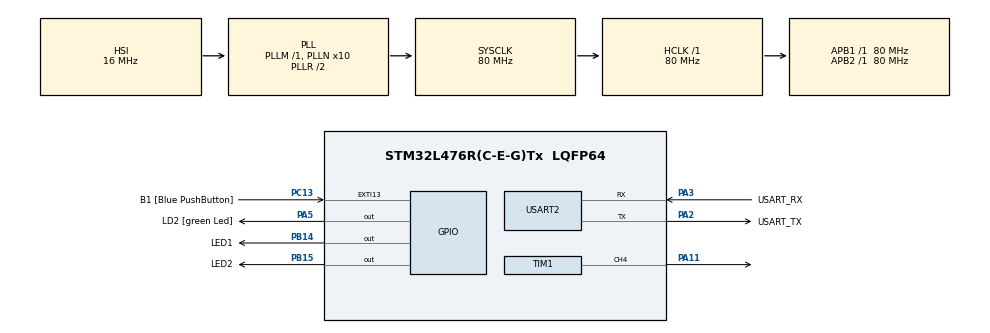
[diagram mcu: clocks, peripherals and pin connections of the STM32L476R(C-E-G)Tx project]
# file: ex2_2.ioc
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Mcu.Family=STM32L4
Mcu.Name=STM32L476R(C-E-G)Tx
Mcu.Package=LQFP64
NVIC.PriorityGroup=NVIC_PRIORITYGROUP_4
NVIC.USART2_IRQn=true\:0\:0\:false\:false\:true\:true\:true
PA11.Signal=S_TIM1_CH4
PA13\ (JTMS-SWDIO).GPIO_Label=TMS
PA13\ (JTMS-SWDIO).Mode=Serial_Wire
PA13\ (JTMS-SWDIO).Signal=SYS_JTMS-SWDIO
PA14\ (JTCK-SWCLK).GPIO_Label=TCK
PA14\ (JTCK-SWCLK).Mode=Serial_Wire
PA14\ (JTCK-SWCLK).Signal=SYS_JTCK-SWCLK
PA2.GPIO_Label=USART_TX
PA2.GPIO_Mode=GPIO_MODE_AF_PP
PA2.GPIO_PuPd=GPIO_NOPULL
PA2.GPIO_Speed=GPIO_SPEED_FREQ_VERY_HIGH
PA2.Mode=Asynchronous
PA2.Signal=USART2_TX
PA3.GPIO_Label=USART_RX
PA3.GPIO_Mode=GPIO_MODE_AF_PP
PA3.GPIO_PuPd=GPIO_NOPULL
PA3.GPIO_Speed=GPIO_SPEED_FREQ_VERY_HIGH
PA3.Mode=Asynchronous
PA3.Signal=USART2_RX
PA5.GPIO_Label=LD2 [green Led]
PA5.GPIO_ModeDefaultOutputPP=GPIO_MODE_OUTPUT_PP
PA5.GPIO_PuPd=GPIO_NOPULL
PA5.GPIO_Speed=GPIO_SPEED_FREQ_LOW
PA5.Signal=GPIO_Output
PB14.GPIO_Label=LED1
PB14.Signal=GPIO_Output
PB15.GPIO_Label=LED2
PB15.Signal=GPIO_Output
PB3\ (JTDO-TRACESWO).GPIO_Label=SWO
PB3\ (JTDO-TRACESWO).Signal=SYS_JTDO-SWO
PC13.GPIO_Label=B1 [Blue PushButton]
PC13.GPIO_ModeDefaultEXTI=GPIO_MODE_IT_FALLING
PC13.GPIO_PuPd=GPIO_NOPULL
PC13.Signal=GPXTI13
PC14-OSC32_IN\ (PC14).Mode=LSE-External-Oscillator
PC14-OSC32_IN\ (PC14).Signal=RCC_OSC32_IN
PC15-OSC32_OUT\ (PC15).Mode=LSE-External-Oscillator
PC15-OSC32_OUT\ (PC15).Signal=RCC_OSC32_OUT
PH0-OSC_IN\ (PH0).Signal=RCC_OSC_IN
PH1-OSC_OUT\ (PH1).Signal=RCC_OSC_OUT
ProjectManager.HeapSize=0x200
ProjectManager.StackSize=0x400
ProjectManager.TargetToolchain=STM32CubeIDE
RCC.ADCFreq_Value=64000000
RCC.AHBFreq_Value=80000000
RCC.APB1Freq_Value=80000000
RCC.APB1TimFreq_Value=80000000
RCC.APB2Freq_Value=80000000
RCC.APB2TimFreq_Value=80000000
RCC.CortexFreq_Value=80000000
RCC.HCLKFreq_Value=80000000
RCC.HSE_VALUE=8000000
RCC.HSI_VALUE=16000000
RCC.MSI_VALUE=4000000
RCC.PLLN=10
RCC.PLLSourceVirtual=RCC_PLLSOURCE_HSI
RCC.PREFETCH_ENABLE=1
RCC.SYSCLKFreq_VALUE=80000000
RCC.SYSCLKSource=RCC_SYSCLKSOURCE_PLLCLK
RCC.USBFreq_Value=64000000
RCC.VCOOutputFreq_Value=160000000
SH.S_TIM1_CH4.0=TIM1_CH4,PWM Generation4 CH4
TIM1.Channel-PWM\ Generation4\ CH4=TIM_CHANNEL_4
TIM1.Period=999
TIM1.Prescaler=79
TIM7.Period=9599
TIM7.Prescaler=9999
USART2.VirtualMode-Asynchronous=VM_ASYNC
VP_TIM1_VS_ClockSourceINT.Mode=Internal
VP_TIM4_VS_ClockSourceINT.Mode=Internal
VP_TIM7_VS_ClockSourceINT.Mode=Enable_Timer
board=NUCLEO-L476RG

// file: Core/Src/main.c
/* USER CODE BEGIN Header */
/**
  ******************************************************************************
  * @file           : main.c
  * @brief          : Main program body
  ******************************************************************************
  * @attention
  *
  * <h2><center>&copy; Copyright (c) 2021 STMicroelectronics.
  * All rights reserved.</center></h2>
  *
  * This software component is licensed by ST under BSD 3-Clause license,
  * the "License"; You may not use this file except in compliance with the
  * License. You may obtain a copy of the License at:
  *                        opensource.org/licenses/BSD-3-Clause
  *
  ******************************************************************************
  */
/* USER CODE END Header */
#include "main.h"
#include "tim.h"
#include "usart.h"
#include "gpio.h"

/* USER CODE BEGIN Includes */
#include "stdio.h"
/* USER CODE END Includes */

/* USER CODE BEGIN PV */
uint16_t size=2;
uint8_t pwm_state_change=0;
uint8_t rxmsg[2];
int pwm_duty=0;
/* USER CODE END PV */

void SystemClock_Config(void);
/* USER CODE BEGIN PFP */
int _write(int file, uint8_t *ptr, int len){
	HAL_UART_Transmit(&huart2, ptr, len, 100);
	return  len;
};

void HAL_UART_RxCpltCallback(UART_HandleTypeDef *huart){
	if(huart->Instance==USART2){
		pwm_state_change=1;
		HAL_UART_Receive_IT(&huart2, rxmsg, size);
	};
};

/* USER CODE END PFP */

int main(void)
{

  /* MCU Configuration--------------------------------------------------------*/

  /* Reset of all peripherals, Initializes the Flash interface and the Systick. */
  HAL_Init();

  /* Configure the system clock */
  SystemClock_Config();

  /* Initialize all configured peripherals */
  MX_GPIO_Init();
  MX_USART2_UART_Init();
  MX_TIM7_Init();
  MX_TIM1_Init();
  MX_TIM4_Init();
  /* USER CODE BEGIN 2 */
  HAL_UART_Receive_IT(&huart2, rxmsg, size);
  __HAL_TIM_SET_COMPARE(&htim1 , TIM_CHANNEL_4, pwm_duty);
  HAL_TIM_PWM_Start(&htim1 , TIM_CHANNEL_4);
  /* USER CODE END 2 */

  /* Infinite loop */
  while (1)
  {

    /* USER CODE BEGIN 3 */
	  if(pwm_state_change==1){
		  if(rxmsg[0]=='0'){
			  pwm_duty=0;
		  }else if(rxmsg[0]=='1'){
			  pwm_duty=249;
		  }else if(rxmsg[0]=='2'){
			  pwm_duty=499;
		  }else if(rxmsg[0]=='3'){
			  pwm_duty=749;
		  }else if(rxmsg[0]=='4'){
			  pwm_duty=999;
		  }
		  pwm_state_change=0;
		  __HAL_TIM_SET_COMPARE(&htim1 , TIM_CHANNEL_4, pwm_duty);
	  };
  }
  /* USER CODE END 3 */
}

void SystemClock_Config(void)
{
  RCC_OscInitTypeDef RCC_OscInitStruct = {0};
  RCC_ClkInitTypeDef RCC_ClkInitStruct = {0};
  RCC_PeriphCLKInitTypeDef PeriphClkInit = {0};

  /** Initializes the RCC Oscillators according to the specified parameters
  * in the RCC_OscInitTypeDef structure.
  */
  RCC_OscInitStruct.OscillatorType = RCC_OSCILLATORTYPE_HSI;
  RCC_OscInitStruct.HSIState = RCC_HSI_ON;
  RCC_OscInitStruct.HSICalibrationValue = RCC_HSICALIBRATION_DEFAULT;
  RCC_OscInitStruct.PLL.PLLState = RCC_PLL_ON;
  RCC_OscInitStruct.PLL.PLLSource = RCC_PLLSOURCE_HSI;
  RCC_OscInitStruct.PLL.PLLM = 1;
  RCC_OscInitStruct.PLL.PLLN = 10;
  RCC_OscInitStruct.PLL.PLLP = RCC_PLLP_DIV7;
  RCC_OscInitStruct.PLL.PLLQ = RCC_PLLQ_DIV2;
  RCC_OscInitStruct.PLL.PLLR = RCC_PLLR_DIV2;
  if (HAL_RCC_OscConfig(&RCC_OscInitStruct) != HAL_OK)
  {
    Error_Handler();
  }
  /** Initializes the CPU, AHB and APB buses clocks
  */
  RCC_ClkInitStruct.ClockType = RCC_CLOCKTYPE_HCLK|RCC_CLOCKTYPE_SYSCLK
                              |RCC_CLOCKTYPE_PCLK1|RCC_CLOCKTYPE_PCLK2;
  RCC_ClkInitStruct.SYSCLKSource = RCC_SYSCLKSOURCE_PLLCLK;
  RCC_ClkInitStruct.AHBCLKDivider = RCC_SYSCLK_DIV1;
  RCC_ClkInitStruct.APB1CLKDivider = RCC_HCLK_DIV1;
  RCC_ClkInitStruct.APB2CLKDivider = RCC_HCLK_DIV1;

  if (HAL_RCC_ClockConfig(&RCC_ClkInitStruct, FLASH_LATENCY_4) != HAL_OK)
  {
    Error_Handler();
  }
  PeriphClkInit.PeriphClockSelection = RCC_PERIPHCLK_USART2;
  PeriphClkInit.Usart2ClockSelection = RCC_USART2CLKSOURCE_PCLK1;
  if (HAL_RCCEx_PeriphCLKConfig(&PeriphClkInit) != HAL_OK)
  {
    Error_Handler();
  }
  /** Configure the main internal regulator output voltage
  */
  if (HAL_PWREx_ControlVoltageScaling(PWR_REGULATOR_VOLTAGE_SCALE1) != HAL_OK)
  {
    Error_Handler();
  }
}

void Error_Handler(void)
{
}

/************************ (C) COPYRIGHT STMicroelectronics *****END OF FILE****/
